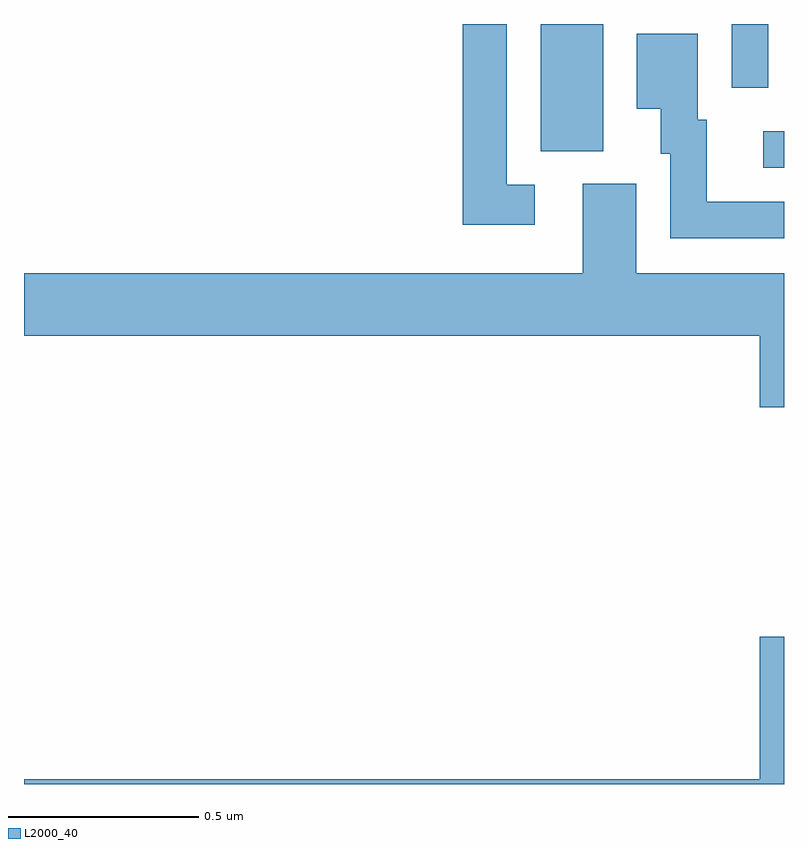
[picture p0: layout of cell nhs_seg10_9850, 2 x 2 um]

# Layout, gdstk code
import gdstk
lib = gdstk.Library(unit=1e-6, precision=1e-09)
def R(c, l, rs):  # rectangles x0, y0, x1, y1
    for r in rs: c.add(gdstk.rectangle(r[:2], r[2:], *l))
def P(c, l, *ps):  # polygons
    for p in ps: c.add(gdstk.Polygon(p, *l))
L2000_40 = (2000, 40)

nhs_seg10_9850 = lib.new_cell('nhs_seg10_9850')
R(nhs_seg10_9850, L2000_40, [(236.946,1270.122,237,1270.218), (236.36,1270.165,236.524,1270.5), (236.862,1270.332,236.958,1270.5)])
P(nhs_seg10_9850, L2000_40, [(236.344,1270.077),(236.271,1270.077),(236.271,1270.5),(236.155,1270.5),(236.155,1269.972),(236.344,1269.972)],
  [(237,1270.032),(236.797,1270.032),(236.797,1270.248),(236.773,1270.248),(236.773,1270.474),(236.612,1270.474),(236.612,1270.277),(236.675,1270.277),(236.675,1270.158),(236.7,1270.158),(236.7,1269.936),(237,1269.936)],
  [(237,1269.844),(236.611,1269.844),(236.611,1270.08),(236.471,1270.08),(236.471,1269.844),(235,1269.844),(235,1269.68),(236.936,1269.68),(236.936,1269.492),(237,1269.492)],
  [(237,1268.887),(236.936,1268.887),(236.936,1268.512),(235,1268.512),(235,1268.5),(237,1268.5)])

lib.write_gds('nhs_seg10_9850.gds')
